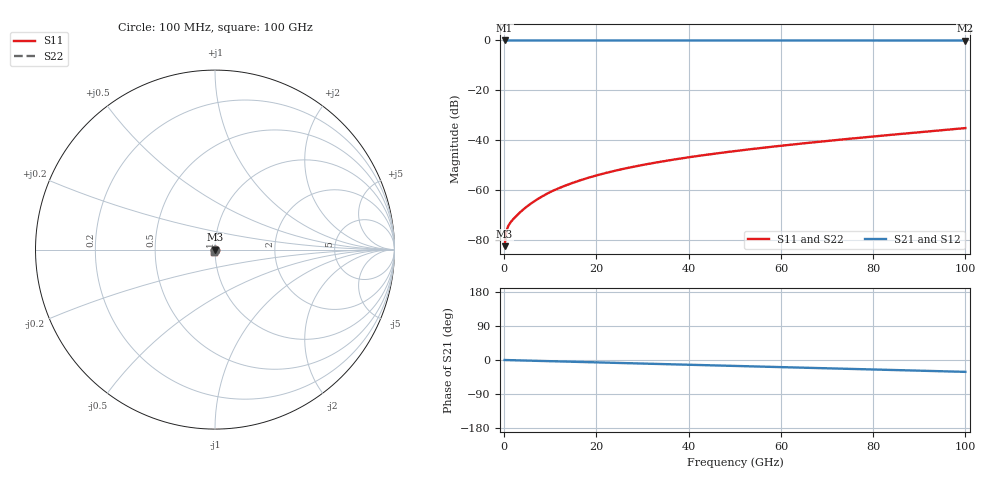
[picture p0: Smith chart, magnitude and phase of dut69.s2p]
! Touchstone file exported from HFSS 2026.1.0
!  File:  C:/ffzhzh/LocalFiles/Ansys_Project_Files/temp_train_TSV_69_1783505248_55944.aedt
!  Generated:  06:08:37 PM Jul  8, 2026
!  Design:  TSV
!  Project:  temp_train_TSV_69_1783505248_55944
! Variables:
!  h_bsmrdl = 2um
!  h_ox = 20um
!  h_rdl = 5um
!  h_sub = 58.83um
!  h_tmrdl = 5um
!  h_tsv = 58.83um
!  h_via = 3um
!  l_bsmrdl = 300um
!  l_sub = 425.48um
!  l_tmrdl = 200um
!  m_sub = 200um
!  pitch = 49.7um
!  r_tsv = 12.74um
!  s_tmrdl = 10um
!  w_bsmrdl = 18um
!  w_sub = 500um
!  w_tmrdl = 12um
!  x_tsv_center1 = 206um
!  x_tsv_center2 = 524um
!  x_tsv_center3 = 736um
!  x_tsv_center4 = 1054um
!  x_tsv_center5 = 1266um
!  x_tsv_center6 = 1584um
# GHz S MA R 50.000000
! Terminal data exported
! Port[1] = TSV1_1_T1
! Port[2] = TSV1_1_T2
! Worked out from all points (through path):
!   1000 points, 100 MHz to 100 GHz, reference 50 ohm
!   highest |S21| = 0.00 dB at 100 MHz (marker M1); lowest = 0.0 dB at 100 GHz (marker M2)
!   group delay of S21, straight-line fit = 868 fs
!   lowest |S11| = -82.4 dB at 100 MHz (marker M3), VSWR 1.00, Z = 50 + j0.00227 ohm
!   |S11| at or under -10 dB: start of sweep to end of sweep
!   |S22| runs from -82.4 to -35.1 dB; largest |S21 - S12| = 1.8e-15
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0.1  7.568e-05 17.5  0.9999 -0.0  0.9999 -0.0  7.568e-05 17.5
! Gamma 0 0 0 0
! Port Impedance 50 0 50 0
0.4  0.0001315 29.7  0.9999 -0.1  0.9999 -0.1  0.0001315 29.7
0.8  0.0001836 21.2  0.9998 -0.3  0.9998 -0.3  0.0001835 21.2
1  0.0002004 17.0  0.9998 -0.3  0.9998 -0.3  0.0002004 17.0
1.2  0.0002147 13.3  0.9998 -0.4  0.9998 -0.4  0.0002147 13.3
1.5  0.0002339 8.5  0.9998 -0.5  0.9998 -0.5  0.0002339 8.5
2.2  0.0002772 -1.1  0.9997 -0.7  0.9997 -0.7  0.0002772 -1.1
3.2  0.0003434 -12.7  0.9997 -1.0  0.9997 -1.0  0.0003434 -12.7
5.2  0.0004917 -30.5  0.9996 -1.6  0.9996 -1.6  0.0004916 -30.5
7.5  0.000684 -43.6  0.9995 -2.4  0.9995 -2.4  0.0006838 -43.6
10.1  0.0009303 -52.5  0.9994 -3.2  0.9994 -3.2  0.0009299 -52.6
13.3  0.001241 -59.6  0.9993 -4.2  0.9993 -4.2  0.00124 -59.6
16.8  0.001614 -65.6  0.9992 -5.2  0.9992 -5.2  0.001613 -65.7
20.3  0.002011 -70.6  0.9991 -6.3  0.9991 -6.3  0.00201 -70.6
24.2  0.002475 -75.1  0.999 -7.6  0.999 -7.6  0.002474 -75.2
28.5  0.00301 -79.3  0.999 -8.9  0.999 -8.9  0.003008 -79.4
33.4  0.00365 -83.2  0.9989 -10.4  0.9989 -10.4  0.003647 -83.3
41.1  0.004722 -88.2  0.9987 -12.8  0.9987 -12.8  0.004718 -88.3
50.1  0.00609 -92.9  0.9986 -15.6  0.9986 -15.6  0.006087 -93.0
66.7  0.00903 -100.1  0.9983 -20.8  0.9983 -20.8  0.009027 -100.3
83.4  0.01275 -107.3  0.9981 -26.0  0.9981 -26.0  0.01274 -107.5
100  0.01756 -115.9  0.9977 -31.3  0.9977 -31.3  0.01755 -116.1
